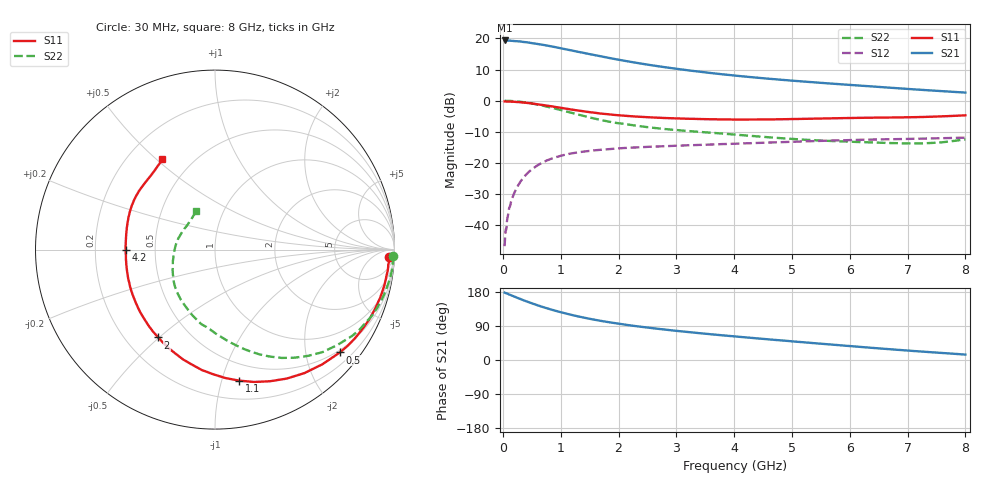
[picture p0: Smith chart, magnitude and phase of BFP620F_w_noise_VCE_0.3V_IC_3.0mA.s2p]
! Infineon Technologies  Discrete & RF Semiconductors
! BFP620F
! VCE =  0.3 V,  IC =  3.0 mA
! Common Emitter S-Parameters:  Dec 2014
# GHz  S  MA  R  50
!  f  S11  S21  S12  S22
! GHz  MAG  ANG  MAG  ANG  MAG  ANG  MAG  ANG
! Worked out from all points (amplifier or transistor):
!   95 points, 30 MHz to 8 GHz, reference 50 ohm
!   highest |S21| = 19.3 dB at 30 MHz (marker M1)
!   |S21| within 3 dB of that: start of sweep to 1.131 GHz
!   unconditionally stable (mu >= 1): 5.807 GHz to end of sweep
!   at 300 MHz: K = 0.05, MSG = 22.6 dB, |S12| = -26.1 dB
!   at 3.3 GHz: K = 0.71, MSG = 11.9 dB, |S12| = -14.3 dB
!   at 8 GHz: K = 1.18, MAG = 4.7 dB, |S12| = -11.9 dB
!   lowest NFmin = 0.51 dB at 450 MHz
!   S11 on the Smith chart (normalised r, x): 30 MHz: 21, -31; 500 MHz: 0.45, -2.72; 1.1 GHz: 0.35, -1.14; 2 GHz: 0.33, -0.50; 4.2 GHz: 0.34, -0.00; 8 GHz: 0.34, +0.52
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0.03  0.9708 -2.5  9.272 177.8  0.0046 89.8  0.9937 -2.1
0.05  0.9714 -4.2  9.226 176.6  0.0086 79.6  0.9946 -3.4
0.08  0.9698 -6.6  9.238 174.8  0.0133 84.5  0.9915 -5.3
0.15  0.9639 -12.3  9.155 170.4  0.0254 83.4  0.9863 -10.0
0.3  0.9441 -24.3  8.937 161.1  0.0495 76.2  0.9607 -19.7
0.4  0.9238 -32.1  8.694 155.2  0.0646 71.6  0.9316 -26.1
0.5  0.9013 -39.5  8.407 149.7  0.0789 67.2  0.9028 -32.2
0.7  0.8494 -54.1  7.867 139.4  0.1034 58.7  0.8273 -43.7
0.8  0.8224 -60.9  7.565 134.7  0.1134 55.1  0.787 -48.8
0.9  0.7946 -67.4  7.263 130.3  0.1222 51.6  0.7459 -53.9
1.1  0.7421 -79.6  6.651 122.3  0.1371 45.7  0.6693 -62.9
1.4  0.6751 -96.2  5.848 111.9  0.1523 38.8  0.568 -74.9
1.7  0.6198 -110.8  5.148 103.1  0.1627 33.9  0.4875 -86.0
2  0.5827 -122.9  4.548 95.9  0.1712 30.0  0.4336 -96.3
2.3  0.5553 -134.0  4.071 89.4  0.1773 26.6  0.3967 -106.3
2.7  0.5317 -146.0  3.558 82.0  0.184 23.4  0.358 -116.9
3.4  0.5072 -163.6  2.922 70.8  0.1947 19.4  0.3153 -132.8
4.1  0.4978 -177.8  2.483 61.0  0.2048 16.2  0.281 -145.9
4.2  0.4975 -179.8  2.433 59.7  0.2064 15.8  0.2759 -147.8
5.4  0.5146 159.4  1.966 44.2  0.2244 10.8  0.2316 -173.7
6.7  0.5364 139.2  1.614 28.4  0.2402 4.6  0.2086 154.9
8  0.5822 120.2  1.349 14.3  0.2546 -0.8  0.2394 115.9
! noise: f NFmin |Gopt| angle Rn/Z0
0.45  0.51  0.54  10  0.3
0.9  0.6  0.52  20  0.26
1.5  0.69  0.47  29  0.25
1.8  0.73  0.45  32  0.25
1.9  0.74  0.4  43  0.26
2.4  0.81  0.37  57  0.24
3.5  0.96  0.35  80  0.18
5.5  1.2  0.23  149  0.15
6  1.26  0.19  163  0.29
